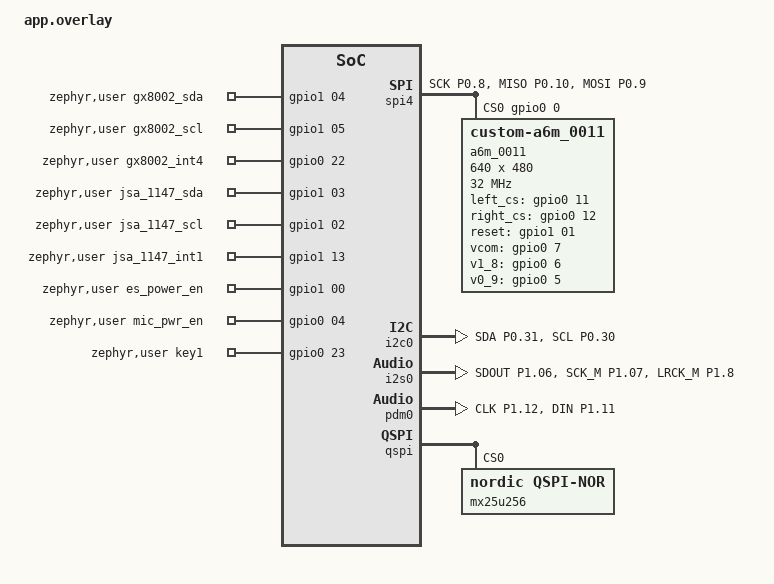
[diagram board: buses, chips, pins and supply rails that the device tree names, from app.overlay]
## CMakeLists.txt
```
# @Author       : Cole
# @Date         : 2025-07-31 10:40:40
# @LastEditTime : 2025-07-31 15:55:35
# @FilePath     : CMakeLists.txt
# @Description  : 

#  Copyright (c) MentraOS Contributors 2025 
#  SPDX-License-Identifier: Apache-2.0
 

cmake_minimum_required(VERSION 3.20.0)

list(APPEND EXTRA_ZEPHYR_MODULES
  ${CMAKE_CURRENT_SOURCE_DIR}/../custom_driver_module)

find_package(Zephyr REQUIRED HINTS $ENV{ZEPHYR_BASE})
project(mentraos_nrf5340)

# set(SHIELD npm1300_ek)
set(LVGL_DIR ${ZEPHYR_LVGL_MODULE_DIR})
FILE(GLOB app_sources src/*.c)
target_include_directories(app PRIVATE ${CMAKE_CURRENT_SOURCE_DIR}/src/.)

target_include_directories(app PRIVATE ${LVGL_DIR}/demos/)

list(APPEND CMAKE_MODULE_PATH ${ZEPHYR_BASE}/modules/nanopb)
include(nanopb)

# zephyr_library()
# zephyr_include_directories(${CMAKE_CURRENT_BINARY_DIR})
# zephyr_nanopb_sources(${ZEPHYR_CURRENT_LIBRARY} mentraos_ble.proto)
zephyr_nanopb_sources(app ${CMAKE_CURRENT_SOURCE_DIR}/mentraos_ble.proto)

# NORDIC SDK APP START
target_sources(app PRIVATE src/main.c)
add_subdirectory(src/mos_driver/bsp)
add_subdirectory(src/mos_driver/bspal)
add_subdirectory(src/mos_app)
add_subdirectory(src/mos_app/protocol_ble)
add_subdirectory(src/mos_components/mos_ble)
add_subdirectory(src/mos_components/mos_util)
add_subdirectory(src/mos_components/mos_sysport)
add_subdirectory(src/mos_components/mos_lvgl_display)
add_subdirectory(src/mos_components/mos_battery)
add_subdirectory(src/mos_components/mos_pdm)


target_sources_ifdef(CONFIG_LV_USE_DEMO_BENCHMARK app PRIVATE
    ${LVGL_DIR}/demos/benchmark/assets/img_benchmark_avatar.c
    ${LVGL_DIR}/demos/benchmark/assets/img_benchmark_lvgl_logo_argb.c
    ${LVGL_DIR}/demos/benchmark/assets/img_benchmark_lvgl_logo_rgb.c
    ${LVGL_DIR}/demos/benchmark/assets/lv_font_benchmark_montserrat_12_compr_az.c.c
    ${LVGL_DIR}/demos/benchmark/assets/lv_font_benchmark_montserrat_16_compr_az.c.c
    ${LVGL_DIR}/demos/benchmark/assets/lv_font_benchmark_montserrat_28_compr_az.c.c
    ${LVGL_DIR}/demos/benchmark/lv_demo_benchmark.c
)

target_sources_ifdef(CONFIG_LV_USE_DEMO_WIDGETS app PRIVATE
    ${LVGL_DIR}/demos/widgets/assets/img_clothes.c
    ${LVGL_DIR}/demos/widgets/assets/img_demo_widgets_avatar.c
    ${LVGL_DIR}/demos/widgets/assets/img_demo_widgets_needle.c
    ${LVGL_DIR}/demos/widgets/assets/img_lvgl_logo.c
    ${LVGL_DIR}/demos/widgets/lv_demo_widgets.c
)

zephyr_library_include_directories(.)

# NORDIC SDK APP END
```

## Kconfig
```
#
# Copyright (c) 2018 Nordic Semiconductor
#
# SPDX-License-Identifier: LicenseRef-Nordic-5-Clause
#

source "Kconfig.zephyr"

menu "Nordic UART BLE GATT service sample"

config BT_NUS_THREAD_STACK_SIZE
	int "Thread stack size"
	default 1024
	help
	  Stack size used in each of the two threads

config BT_NUS_UART_BUFFER_SIZE
	int "UART payload buffer element size"
	default 40
	help
	  Size of the payload buffer in each RX and TX FIFO element

config BT_NUS_SECURITY_ENABLED
	bool "Enable security"
	default y
	select BT_SMP
	help
	  "Enable BLE security for the UART service"

config BT_NUS_UART_RX_WAIT_TIME
	int "Timeout for UART RX complete event"
	default 50000
	help
	  Wait for RX complete event time in microseconds

config SETTINGS
	default y

config ZMS
	default y if (SOC_FLASH_NRF_RRAM || SOC_FLASH_NRF_MRAM)

config NVS
	default y if !(SOC_FLASH_NRF_RRAM || SOC_FLASH_NRF_MRAM)


config LV_Z_DEMO_BENCHMARK
	bool "LVGL benchmark demo"
	select LV_USE_DEMO_BENCHMARK
	select LV_USE_DEMO_WIDGETS
	help
	  Build benchmarking demo application.
	  
config USER_STEREO_1RX_L_1RX_R
	bool "encode fifo enable"
	default y
	
config USER_STEREO_2RX_L
	bool "encode fifo enable"
	default n
	
config USER_STEREO_2RX_LR
	bool "encode fifo enable"
	default n
endmenu
```

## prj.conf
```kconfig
# Enable the UART driver
CONFIG_UART_ASYNC_API=n
CONFIG_NRFX_UARTE0=n
CONFIG_SERIAL=n # 开启/关闭串口 Enable/disable serial port


# 设置log延时模式 Set log delay mode
CONFIG_LOG_MODE_DEFERRED=y
#设置log同步模式 Set log sync mode
CONFIG_LOG_MODE_IMMEDIATE=n
#设置log最小模式 Set log minimal mode
CONFIG_LOG_MODE_MINIMAL=n
#允许丢弃旧的消息 Allow discarding old messages
CONFIG_LOG_MODE_OVERFLOW=n
#设置log缓存大小 Set log buffer size
CONFIG_LOG_BUFFER_SIZE=1024
# # 设置log打印级别 Set log print level
# CONFIG_LOG_DEFAULT_LEVEL=4
# #设置INFO级别log颜色为绿色 Set INFO level log color to green
# CONFIG_LOG_INFO_COLOR_GREEN=y
# # #设置log打印错误为红色警告为黄色 Set log print error as red, warning as yellow
# CONFIG_LOG_BACKEND_SHOW_COLOR=y
# 开启log打印模块 Enable log print module
CONFIG_CONSOLE=y

# Config logger
CONFIG_LOG=y
# 开启rtt log打印 Enable RTT log print
CONFIG_USE_SEGGER_RTT=y 
# 开启rtt log打印缓冲 Enable RTT log print buffer
CONFIG_LOG_BACKEND_RTT=y 
CONFIG_LOG_BACKEND_UART=n
# 开启log打印模块，接管printk打印 Enable log print module, take over printk print
CONFIG_LOG_PRINTK=y         
CONFIG_ASSERT=y
 # 开启/ 关闭log rtt打印模块 Enable/disable log RTT print module
CONFIG_RTT_CONSOLE=y   
# 开启/关闭log串口打印模块 Enable/disable log serial print module
CONFIG_UART_CONSOLE=n   

CONFIG_LOG_MODE_IMMEDIATE=y 
# 配置rtt打印缓存大小 Configure RTT print buffer size
CONFIG_SEGGER_RTT_BUFFER_SIZE_UP=4096
# 浮点打印开关，占用code 1K左右 Floating point print switch, occupies about 1K code
CONFIG_CBPRINTF_FP_SUPPORT=y

# 堆内存池大小（字节） Heap memory pool size (bytes)
CONFIG_HEAP_MEM_POOL_SIZE=40960
# CONFIG_HEAP_MEM_POOL_SIZE=102400

# CONFIG_BT_GATT_DYNAMIC_DB=y
CONFIG_BT=y
CONFIG_BT_DEVICE_APPEARANCE=448
CONFIG_BT_PERIPHERAL=y
# CONFIG_BT_DEVICE_NAME="Nordic_UART_Service_test"
CONFIG_BT_DEVICE_NAME_DYNAMIC=y
CONFIG_BT_MAX_CONN=1
CONFIG_BT_MAX_PAIRED=1
#设置 Bluetooth LE 接收线程的栈空间 Set Bluetooth LE receive thread stack size
CONFIG_BT_RX_STACK_SIZE=2048
#设置 Bluetooth LE 发送线程的栈空间 Set Bluetooth LE send thread stack size
CONFIG_BT_HCI_TX_STACK_SIZE=1024
#多协议服务层（MPSL）相关线程的栈空间 Stack space for Multi-Protocol Service Layer (MPSL) related threads
CONFIG_MPSL_WORK_STACK_SIZE=1024

CONFIG_BT_L2CAP_TX_MTU=517
CONFIG_BT_BUF_ACL_TX_SIZE=521
CONFIG_BT_BUF_ACL_RX_SIZE=521
CONFIG_BT_BUF_ACL_TX_COUNT=7
# CONFIG_BT_CTLR_DATA_LENGTH_MAX=251

# Enable the NUS service
# CONFIG_BT_NUS=y
CONFIG_BT_USER_PHY_UPDATE=y
CONFIG_BT_USER_DATA_LEN_UPDATE=y

CONFIG_NRF_SECURITY=y
CONFIG_MBEDTLS_PSA_CRYPTO_C=y
CONFIG_PSA_WANT_ALG_CMAC=y
CONFIG_PSA_WANT_KEY_TYPE_AES=y
CONFIG_PSA_WANT_AES_KEY_SIZE_128=y
CONFIG_PSA_WANT_ALG_ECDSA=y
CONFIG_PSA_WANT_KEY_TYPE_ECC_KEY_PAIR_IMPORT=y
# Enable bonding
# CONFIG_BT_SETTINGS=y
CONFIG_FLASH=y
CONFIG_FLASH_PAGE_LAYOUT=y
CONFIG_FLASH_MAP=y
CONFIG_SETTINGS=n

CONFIG_SYSTEM_WORKQUEUE_STACK_SIZE=2048
# CONFIG_ISR_STACK_SIZE=4096
CONFIG_SPI=y

CONFIG_GPIO=y
# CONFIG_SOC_NRF53_CPUNET_ENABLE=y

CONFIG_MAIN_STACK_SIZE=4096
#配置main主任务优先级，空闲任务优先级为默认15，可抢占任务优先级为0~15（可配置宏：CONFIG_NUM_PREEMPT_PRIORITIES） Configure main task priority, idle task priority is default 15, preemptive task priority is 0~15 (configurable macro: CONFIG_NUM_PREEMPT_PRIORITIES)
CONFIG_MAIN_THREAD_PRIORITY=14


CONFIG_LVGL=y
# # CONFIG_LV_Z_MEM_POOL_SIZE=49152
CONFIG_LV_Z_MEM_POOL_SIZE=102400
# CONFIG_LV_Z_SHELL=y
CONFIG_LV_USE_MONKEY=y
CONFIG_LV_COLOR_DEPTH_1=y

CONFIG_INPUT=y

CONFIG_LV_FONT_MONTSERRAT_12=y
CONFIG_LV_FONT_MONTSERRAT_14=y
CONFIG_LV_FONT_MONTSERRAT_16=y
CONFIG_LV_FONT_MONTSERRAT_18=y
CONFIG_LV_FONT_MONTSERRAT_24=y
CONFIG_LV_FONT_MONTSERRAT_30=y
CONFIG_LV_FONT_MONTSERRAT_48=y

CONFIG_LV_USE_FONT_COMPRESSED=y
CONFIG_DISPLAY_LOG_LEVEL_ERR=y
CONFIG_LV_USE_LOG=y
# CONFIG_LV_Z_LOG_LEVEL=2
CONFIG_LV_Z_DEMO_BENCHMARK=y
# CONFIG_LV_Z_AUTO_INIT=n
CONFIG_LV_Z_DOUBLE_VDB=y
#修改了这里的值，注意驱动层的缓冲buff长度 ，不要超过20%; Modified this value, note that the buffer length of the driver layer should not exceed 20%
CONFIG_LV_Z_VDB_SIZE=10
CONFIG_LV_Z_VDB_CUSTOM_SECTION=n

# CONFIG_LV_USE_SYSMON=y
# CONFIG_LV_USE_PERF_MONITOR=y
# CONFIG_LV_USE_PERF_MONITOR_LOG_MODE=y



CONFIG_DISPLAY=y
CONFIG_CUSTOM_A6M_0011=y

# CONFIG_STACK_CANARIES=y
# CONFIG_STACK_USAGE=y

# Enable FOTA over Bluetooth LE
CONFIG_NCS_SAMPLE_MCUMGR_BT_OTA_DFU=y


CONFIG_MCUMGR_GRP_ZBASIC=y
CONFIG_MCUMGR_GRP_ZBASIC_STORAGE_ERASE=y
# CONFIG_PM_OVERRIDE_EXTERNAL_DRIVER_CHECK=y


# CONFIG_CJSON_LIB=y
CONFIG_NEWLIB_LIBC=y
CONFIG_NEWLIB_LIBC_FLOAT_PRINTF=y
CONFIG_NEWLIB_LIBC_NANO=n



CONFIG_RING_BUFFER=y

CONFIG_FILE_SYSTEM=y
CONFIG_FILE_SYSTEM_LITTLEFS=y
# CONFIG_FS_LOG_LEVEL=3
#LittleFS 的缓存大小（字节）; LittleFS cache size (bytes)
CONFIG_FS_LITTLEFS_CACHE_SIZE=1024
#LittleFS 块的擦写周期上限，用于磨损均衡; LittleFS block erase/write cycle limit for wear leveling
CONFIG_FS_LITTLEFS_BLOCK_CYCLES=512
#LittleFS 读操作的最小单位（字节）; LittleFS minimum read operation unit (bytes)
CONFIG_FS_LITTLEFS_READ_SIZE=32
#LittleFS 写操作的最小单位（字节）; LittleFS minimum write operation unit (bytes)
CONFIG_FS_LITTLEFS_PROG_SIZE=32
#LittleFS 查找窗口的大小（字节），用于查找文件时，在文件系统上查找的窗口大小; LittleFS lookup window size (bytes), used when searching for files in the file system
CONFIG_FS_LITTLEFS_LOOKAHEAD_SIZE=64


# 在系统配置中包括当前/电压调节器的驱动程序; Include current/voltage regulator drivers in system configuration
CONFIG_REGULATOR=y
CONFIG_SENSOR=y
CONFIG_I2C=y
CONFIG_LED=y
CONFIG_NRF_FUEL_GAUGE=y
CONFIG_NRF_FUEL_GAUGE_VARIANT_SECONDARY_CELL=y
CONFIG_TFM_SECURE_UART=n
CONFIG_TFM_LOG_LEVEL_SILENCE=y

CONFIG_PM_DEVICE=y
CONFIG_NRFX_TWIM0=y
## thread monitor ##
CONFIG_THREAD_ANALYZER=y
CONFIG_THREAD_NAME=y




######test load##############
# CONFIG_ZTEST=y
CONFIG_CPU_LOAD=y
CONFIG_NRFX_TIMER1=y
CONFIG_CPU_LOAD_USE_SHARED_DPPI_CHANNELS=y


#watchdog
CONFIG_WDT_LOG_LEVEL_DBG=n
CONFIG_WATCHDOG=y
CONFIG_WDT_DISABLE_AT_BOOT=n

CONFIG_CMSIS_DSP=y
CONFIG_SW_CODEC_LC3_T2_SOFTWARE=y
CONFIG_LC3_ENC_CHAN_MAX=2
CONFIG_LC3_DEC_CHAN_MAX=2

CONFIG_FPU=y
# CONFIG_NRFX_PDM0=y
CONFIG_AUDIO=y
CONFIG_AUDIO_DMIC=y
CONFIG_AUDIO_DMIC_NRFX_PDM=y

CONFIG_NRFX_I2S0=y
CONFIG_USER_STEREO_1RX_L_1RX_R=y
# CONFIG_USER_STEREO_2RX_L is not set
# CONFIG_USER_STEREO_2RX_LR is not set


CONFIG_NANOPB=y
```

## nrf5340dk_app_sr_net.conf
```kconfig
#
# Copyright (c) 2022 Nordic Semiconductor
#
# SPDX-License-Identifier: LicenseRef-Nordic-5-Clause
#

CONFIG_BOOTLOADER_MCUBOOT=y
CONFIG_NRF53_UPGRADE_NETWORK_CORE=y
```

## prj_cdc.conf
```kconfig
#
# Copyright (c) 2021 Nordic Semiconductor
#
# SPDX-License-Identifier: LicenseRef-Nordic-5-Clause
#

# Enable the UART driver
CONFIG_UART_LINE_CTRL=y
CONFIG_UART_INTERRUPT_DRIVEN=y
CONFIG_UART_ASYNC_ADAPTER=y
CONFIG_USB_DEVICE_STACK=y
CONFIG_USB_DEVICE_REMOTE_WAKEUP=n
CONFIG_USB_CDC_ACM=y
CONFIG_USB_CDC_ACM_LOG_LEVEL_OFF=y

# Disable the UARTE0 enabled in default project configuration
CONFIG_NRFX_UARTE0=n
CONFIG_UART_NRFX=n
```

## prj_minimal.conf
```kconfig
#
# Copyright (c) 2021 Nordic Semiconductor
#
# SPDX-License-Identifier: LicenseRef-Nordic-5-Clause
#

# Enable the UART driver
CONFIG_UART_ASYNC_API=y
CONFIG_NRFX_UARTE0=y
CONFIG_SERIAL=y

CONFIG_HEAP_MEM_POOL_SIZE=1536

CONFIG_BT=y
CONFIG_BT_PERIPHERAL=y
CONFIG_BT_DEVICE_NAME="Nordic_UART_Service"
CONFIG_BT_DEVICE_APPEARANCE=833
CONFIG_BT_MAX_CONN=1
CONFIG_BT_MAX_PAIRED=1

# Enable the NUS service
CONFIG_BT_NUS=y

# Enable bonding
CONFIG_BT_SETTINGS=y
CONFIG_FLASH=y
CONFIG_FLASH_PAGE_LAYOUT=y
CONFIG_FLASH_MAP=y

# Enable DK LED and Buttons library
CONFIG_DK_LIBRARY=y

# Drivers and peripherals
CONFIG_I2C=n
CONFIG_WATCHDOG=n
CONFIG_SPI=n
CONFIG_GPIO=n

# Power management

# Interrupts
CONFIG_DYNAMIC_INTERRUPTS=n
CONFIG_IRQ_OFFLOAD=n

# Memory protection
CONFIG_THREAD_STACK_INFO=n
CONFIG_THREAD_CUSTOM_DATA=n
CONFIG_FPU=n

# Boot
CONFIG_NCS_BOOT_BANNER=n
CONFIG_BOOT_BANNER=n
CONFIG_BOOT_DELAY=0

# Console
CONFIG_CONSOLE=n
CONFIG_UART_CONSOLE=n
CONFIG_STDOUT_CONSOLE=n
CONFIG_PRINTK=n
CONFIG_EARLY_CONSOLE=n

# Build
CONFIG_SIZE_OPTIMIZATIONS=y

# ARM
CONFIG_ARM_MPU=n

# In order to correctly tune the stack sizes for the threads the following
# Configurations can enabled to print the current use:
#CONFIG_THREAD_NAME=y
#CONFIG_THREAD_ANALYZER=y
#CONFIG_THREAD_ANALYZER_AUTO=y
#CONFIG_THREAD_ANALYZER_RUN_UNLOCKED=y
#CONFIG_THREAD_ANALYZER_USE_PRINTK=y
#CONFIG_CONSOLE=y
#CONFIG_UART_CONSOLE=y
#CONFIG_SERIAL=y
#CONFIG_PRINTK=y

# Example output of thread analyzer
#SDC RX              : unused 800 usage 224 / 1024 (21 %)
#BT ECC              : unused 216 usage 888 / 1104 (80 %)
#BT RX               : unused 1736 usage 464 / 2200 (21 %)
#BT TX               : unused 1008 usage 528 / 1536 (34 %)
#ble_write_thread_id : unused 688 usage 336 / 1024 (32 %)
#sysworkq            : unused 1912 usage 136 / 2048 (6 %)
#MPSL signal         : unused 928 usage 96 / 1024 (9 %)
#idle 00             : unused 224 usage 96 / 320 (30 %)
#main                : unused 568 usage 456 / 1024 (44 %)
CONFIG_BT_RX_STACK_SIZE=1024
CONFIG_BT_HCI_TX_STACK_SIZE_WITH_PROMPT=y
CONFIG_BT_HCI_TX_STACK_SIZE=640
CONFIG_SYSTEM_WORKQUEUE_STACK_SIZE=1536
CONFIG_MPSL_WORK_STACK_SIZE=256
CONFIG_IDLE_STACK_SIZE=128
CONFIG_ISR_STACK_SIZE=1024
CONFIG_BT_NUS_THREAD_STACK_SIZE=512

# Disable features not needed
CONFIG_TIMESLICING=n
CONFIG_COMMON_LIBC_MALLOC=n
CONFIG_LOG=n
CONFIG_LOG_BACKEND_RTT=n
CONFIG_ASSERT=n

# Disable Bluetooth features not needed
CONFIG_BT_DEBUG_NONE=y
CONFIG_BT_ASSERT=n
CONFIG_BT_DATA_LEN_UPDATE=n
CONFIG_BT_PHY_UPDATE=n
CONFIG_BT_GATT_CACHING=n
CONFIG_BT_GATT_SERVICE_CHANGED=n
CONFIG_BT_GAP_PERIPHERAL_PREF_PARAMS=n
CONFIG_BT_SETTINGS_CCC_LAZY_LOADING=y
CONFIG_BT_HCI_VS=n

# Disable Bluetooth controller features not needed
CONFIG_BT_CTLR_PRIVACY=n
CONFIG_BT_CTLR_PHY_2M=n

# Reduce Bluetooth buffers
CONFIG_BT_BUF_EVT_DISCARDABLE_COUNT=1
CONFIG_BT_BUF_EVT_DISCARDABLE_SIZE=43
CONFIG_BT_BUF_EVT_RX_COUNT=2

CONFIG_BT_CONN_TX_MAX=3
CONFIG_BT_L2CAP_TX_BUF_COUNT=2
CONFIG_BT_ATT_TX_COUNT=2
CONFIG_BT_BUF_ACL_TX_COUNT=3
CONFIG_BT_BUF_ACL_TX_SIZE=27
```

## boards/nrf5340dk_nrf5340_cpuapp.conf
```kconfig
#
# Copyright (c) 2025 Nordic Semiconductor
#
# SPDX-License-Identifier: LicenseRef-Nordic-5-Clause
#

# Don't get entropy from HCI on nRF5340 devices
CONFIG_BT_HOST_CRYPTO_PRNG=y
CONFIG_ENTROPY_BT_HCI=n
```

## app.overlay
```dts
//   @Author: 		Cole
//   @Date: 		2025-07-31 10: 40: 40
//   @LastEditTime: 2025-08-20 10: 17: 53
//   @FilePath: 	app.overlay
//   @FilePath: 	app.overlay
//   @Description:
//   Copyright (c) MentraOS Contributors 2025
//   SPDX-License-Identifier: Apache-2.0

/ {
	chosen {
		zephyr,display = &a6m_0011;
		nordic,pm-ext-flash = &mx25u256;
		// nordic,pm-ext-flash = &mx25r64;
	};
	zephyr,user {
		gx8002_sda-gpios = <&gpio1 04 GPIO_ACTIVE_HIGH>;
		gx8002_scl-gpios = <&gpio1 05 GPIO_ACTIVE_HIGH>;
		gx8002_int4-gpios = <&gpio0 22 GPIO_ACTIVE_HIGH>;

		jsa_1147_sda-gpios = <&gpio1 03 GPIO_ACTIVE_HIGH>;
		jsa_1147_scl-gpios = <&gpio1 02 GPIO_ACTIVE_HIGH>;
		jsa_1147_int1-gpios = <&gpio1 13 GPIO_ACTIVE_HIGH>;

		es_power_en-gpios = <&gpio1 00 GPIO_ACTIVE_HIGH>;
		mic_pwr_en-gpios = <&gpio0 04 GPIO_ACTIVE_HIGH>;

		key1-gpios = <&gpio0 23 GPIO_ACTIVE_HIGH>;
	};
	/delete-node/ aliases;
	aliases {
		myimu6 = &i2c0;
		myimu3 = &i2c2;
		// myvda = &i2c3;

		watchdog0 = &wdt0;
	};

};


&pinctrl {
	spi4_default: spi4_default {
		group1 {
			psels = <NRF_PSEL(SPIM_SCK, 0, 8)>,
			        <NRF_PSEL(SPIM_MISO, 0, 10)>,
			        <NRF_PSEL(SPIM_MOSI, 0, 9)>;
			nordic,drive-mode = <NRF_DRIVE_E0E1>;
		};
	};
	spi4_sleep: spi4_sleep {
		group1 {
			psels = <NRF_PSEL(SPIM_SCK, 0, 8)>,
			        <NRF_PSEL(SPIM_MISO, 0, 10)>,
			        <NRF_PSEL(SPIM_MOSI, 0, 9)>;
			low-power-enable;
		};
	};
	i2c0_default: i2c0_default {
		group1 {
			psels = <NRF_PSEL(TWIM_SDA, 0, 31)>,
					<NRF_PSEL(TWIM_SCL, 0, 30)>;
			bias-pull-up;
			nordic,drive-mode = <NRF_DRIVE_S0D1>;
		};
	};
	i2c0_sleep: i2c0_sleep {
		group1 {
			psels = <NRF_PSEL(TWIM_SDA, 0, 31)>,
					<NRF_PSEL(TWIM_SCL, 0, 30)>;
			low-power-enable;
		};
	};
	i2c2_default: i2c2_default {
		group1 {
			psels = <NRF_PSEL(TWIM_SDA, 1, 15)>,
					<NRF_PSEL(TWIM_SCL, 1, 14)>;
			bias-pull-up;
			nordic,drive-mode = <NRF_DRIVE_S0D1>;
		};
	};
	i2c2_sleep: i2c2_sleep {
		group1 {
			psels = <NRF_PSEL(TWIM_SDA, 1, 15)>,
					<NRF_PSEL(TWIM_SCL, 1, 14)>;
			low-power-enable;
		};
	};
	i2c3_default: i2c3_default {
		group1 {

			psels = <NRF_PSEL(TWIM_SDA, 1, 04)>,
					<NRF_PSEL(TWIM_SCL, 1, 05)>;
			bias-pull-up;
			nordic,drive-mode = <NRF_DRIVE_S0D1>;
		};
	};
	i2c3_sleep: i2c3_sleep {
		group1 {
			psels = <NRF_PSEL(TWIM_SDA, 1, 04)>,
					<NRF_PSEL(TWIM_SCL, 1, 05)>;
			low-power-enable;
		};
	};
	i2s0_default: i2s0_default {
		group1 {
			psels = <NRF_PSEL(I2S_SDOUT, 1, 06)>,
			        <NRF_PSEL(I2S_SCK_M, 1, 07)>,
			        <NRF_PSEL(I2S_LRCK_M, 1, 8)>;
			// <NRF_PSEL(I2S_SDIN, 0, 0)>;

		};
	};
	pdm0_default_alt: pdm0_default_alt {
		group1 {
			psels = <NRF_PSEL(PDM_CLK, 1, 12)>,
					<NRF_PSEL(PDM_DIN, 1, 11)>;

		};
	};
};
&spi4 {
	compatible = "nordic,nrf-spim";
	status = "okay";
	cs-gpios = <&gpio0 0 GPIO_ACTIVE_HIGH>;
	pinctrl-0 = <&spi4_default>;
	pinctrl-1 = <&spi4_sleep>;
	pinctrl-names = "default", "sleep";
	a6m_0011: a6m_0011@0 {
		compatible = "zephyr,custom-a6m_0011";
		status = "okay";
		reg = <0>;
		spi-max-frequency = <32000000>;
		left_cs-gpios = <&gpio0 11 GPIO_ACTIVE_HIGH>;
		right_cs-gpios = <&gpio0 12 GPIO_ACTIVE_HIGH>;
		reset-gpios = <&gpio1 01 GPIO_ACTIVE_HIGH>;
		vcom-gpios = <&gpio0 7 GPIO_ACTIVE_HIGH>;
		v1_8-gpios = <&gpio0 6 GPIO_ACTIVE_HIGH>;
		v0_9-gpios = <&gpio0 5 GPIO_ACTIVE_HIGH>;

		width = <640>;
		// height = <240>;
		height = <480>;
	};
};
&i2c0 {
	status = "okay";
	compatible = "nordic,nrf-twim";
	pinctrl-0 = <&i2c0_default>;
	pinctrl-1 = <&i2c0_sleep>;
	pinctrl-names = "default", "sleep";
};
&i2c2 {
	status = "disabled";
	compatible = "nordic,nrf-twim";
	pinctrl-0 = <&i2c2_default>;
	pinctrl-1 = <&i2c2_sleep>;
	pinctrl-names = "default", "sleep";
};
&i2c3 {
	status = "disabled";
	compatible = "nordic,nrf-twim";
	pinctrl-0 = <&i2c3_default>;
	pinctrl-1 = <&i2c3_sleep>;
	pinctrl-names = "default", "sleep";
};
&i2s0 {
	compatible = "nordic,nrf-i2s";
	status = "okay";
	pinctrl-0 = <&i2s0_default>;
	pinctrl-names = "default";
	// clock-source = "ACLK";
};

dmic_dev: &pdm0 {
	status = "okay";
	compatible = "nordic,nrf-pdm";
	pinctrl-0 = <&pdm0_default_alt>;
	pinctrl-names = "default";
	// clock-source = "ACLK";
};
&gpio1 {
	sense-edge-mask = <0xffffffff>;
};
&gpio0 {
	sense-edge-mask = <0xffffffff>;
};
&nfct {
	status = "disabled";
};
&gpio_fwd {
	// status = "disabled";// 将管脚控制权保留在应用核; Keep the control of the pins within the application core
	/delete-node/ uart;// 将管脚控制权保留在应用核; Keep the control of the pins within the application core

};

&pwm0 {
	status = "disabled";
};
&ieee802154 {
	status = "disabled";
};
&uart0 {
	status = "disabled";
};

/delete-node/ &button0;
/delete-node/ &button1;
/delete-node/ &button2;
/delete-node/ &button3;
// /delete-node/ &buttons;
/delete-node/ &led0;
/delete-node/ &led1;
/delete-node/ &led2;
/delete-node/ &led3;
// /delete-node/ &leds;

// &qspi {
// 	status = "okay";
// 	pinctrl-0 = <&qspi_default>;
// 	pinctrl-1 = <&qspi_sleep>;
// 	pinctrl-names = "default", "sleep";
// 	mx25r64: mx25r6435f@0 {
// 			compatible = "nordic,qspi-nor";
// 			reg = <0>;
// 			/* MX25R64 supports only pp and pp4io */
// 			writeoc = "pp4io";
// 			/* MX25R64 supports all readoc options */
// 			readoc = "read4io";
// 			sck-frequency = <32000000>;
// 			jedec-id = [ c2 28 17  ];
// 			sfdp-bfp = [ e5 20 f1 ff ff ff ff 03 44 eb 08 6b 08 3b 04 bb ee ff ff ff ff ff 00 ff ff ff 00 ff 0c 20 0f 52 10 d8 00 ff 23 72 f5 00 82 ed 04 cc 44 83 68 44 30 b0 30 b0 f7 c4 d5 5c 00 be 29 ff f0 d0 ff ff  ];
// 			size = <67108864>;
// 			has-dpd;
// 			t-enter-dpd = <10000>;
// 			t-exit-dpd = <35000>;
// 	};
// };

/delete-node/ &mx25r64;
&qspi {
	status = "okay";
	pinctrl-0 = <&qspi_default>;
	pinctrl-1 = <&qspi_sleep>;
	pinctrl-names = "default", "sleep";
	mx25u256: mx25u256@0 {
		compatible = "nordic,qspi-nor";
		reg = <0>;
		/* MX25U256 supports only pp and pp4io */
		writeoc = "pp4io";
		/* MX25U256 supports all readoc options */
		readoc = "read4io";
		sck-frequency = <32000000>;
		address-size-32;
		enter-4byte-addr = <0xb7>;
		jedec-id = [ c2 25 39  ];
		sfdp-bfp = [ e5 20 fb ff ff ff ff 0f 44 eb 08 6b 08 3b 04 bb fe ff ff ff ff ff 00 ff ff ff 44 eb 0c 20 0f 52 10 d8 00 ff 25 52 dd 00 84 a5 04 e2 44 03 17 38 30 b0 30 b0 f7 bd d5 5c 4a 9e 29 ff f0 50 f9 85  ];
		size = <0x2000000>;// 32M
		has-dpd;
		t-enter-dpd = <10000>;
		t-exit-dpd = <35000>;
	};
};
```

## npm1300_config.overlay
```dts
/*
 * Copyright (C) 2023 Nordic Semiconductor ASA
 * SPDX-License-Identifier: Apache-2.0
 */

#include <dt-bindings/regulator/npm1300.h>
#include <zephyr/dt-bindings/input/input-event-codes.h>

&pinctrl {
    arduino_i2c_default: arduino_i2c_default {
        group1 {
            psels = <NRF_PSEL(TWIM_SCL, 0, 29)>,
                    <NRF_PSEL(TWIM_SDA, 1, 10)>;
            bias-pull-up;
        };
    };
    arduino_i2c_sleep: arduino_i2c_sleep {
        group1 {
            psels = <NRF_PSEL(TWIM_SCL, 0, 29)>,
                    <NRF_PSEL(TWIM_SDA, 1, 10)>;
            low-power-enable;
        };
    };
};

&arduino_i2c {
    status = "okay";
    pinctrl-0 = <&arduino_i2c_default>;
    pinctrl-1 = <&arduino_i2c_sleep>;
    pinctrl-names = "default", "sleep";
    clock-frequency = <I2C_BITRATE_STANDARD>;

    npm1300_ek_pmic: pmic@6b {
        compatible = "nordic,npm1300";
        reg = <0x6b>;
        // ship-to-active-time = <96>;
        // long-press-reset = "one_button";
        npm1300_ek_gpio: gpio-controller {
            compatible = "nordic,npm1300-gpio";
            gpio-controller;
            #gpio-cells = <2>;
            ngpios = <5>;
            // phandle = <6>;
        };
        npm1300_ek_regulators: regulators {
            compatible = "nordic,npm1300-regulator";

            npm1300_ek_buck1: BUCK1 {
                regulator-min-microvolt = <1000000>;
                regulator-max-microvolt = <3300000>;
                retention-microvolt = <1200000>;
            };
            npm1300_ek_buck2: BUCK2 {
                regulator-min-microvolt = <1000000>;
                regulator-max-microvolt = <3300000>;
                retention-microvolt = <1800000>;
            };

            npm1300_ek_ldo1: LDO1 {
                regulator-min-microvolt = <1000000>;
                regulator-max-microvolt = <3300000>;
                regulator-initial-mode = <NPM1300_LDSW_MODE_LDSW>;
                regulator-boot-on;
            };
            npm1300_ek_ldo2: LDO2 {
                regulator-min-microvolt = <1000000>;
                regulator-max-microvolt = <3300000>;
                regulator-initial-mode = <NPM1300_LDSW_MODE_LDSW>;
                regulator-boot-on;
            };

        };

        npm1300_ek_charger: charger {
            compatible = "nordic,npm1300-charger";
            term-microvolt = <4250000>;// 充电终止电压; Charging termination voltage
            term-warm-microvolt = <3600000>;
            // term-current-percent = <10>;
            // current-microamp = <800000>;// 限制充电电流(uA); Limit charging current (uA)
            current-microamp = <300000>;// 限制充电电流(uA); Limit charging current (uA)
            // current-microamp = <150000>;// 限制充电电流(uA); Limit charging current (uA)
            // trickle-microvolt = <2900000>;
            dischg-limit-microamp = <200000>; // 限制放电电流(uA); Limit discharge current (uA)
            // dischg-limit-microamp = <1000000>; // 限制放电电流(uA); Limit discharge current (uA)
            vbus-limit-microamp = <500000>;
            thermistor-ohms = <10000>;
            thermistor-beta = <3380>;

            charging-enable;
            vbatlow-charge-enable;
        };


        npm1300_ek_leds: leds {
            compatible = "nordic,npm1300-led";
            nordic,led0-mode = "error";
            nordic,led1-mode = "charging";
            nordic,led2-mode = "host";
        };

    };
};
```

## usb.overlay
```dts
/*
 * Copyright (c) 2021 Nordic Semiconductor ASA
 *
 * SPDX-License-Identifier: LicenseRef-Nordic-5-Clause
 */

/ {
	chosen {
		zephyr,console = &cdc_acm_uart0;
		nordic,nus-uart = &cdc_acm_uart0;
	};
};

&zephyr_udc0 {
	cdc_acm_uart0: cdc_acm_uart0 {
		compatible = "zephyr,cdc-acm-uart";
	};
};
```

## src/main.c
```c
/*
 * @Author       : Cole
 * @Date         : 2025-07-31 10:40:40
 * @LastEditTime : 2025-08-19 17:49:37
 * @FilePath     : main.c
 * @Description  :
 *
 *  Copyright (c) MentraOS Contributors 2025
 *  SPDX-License-Identifier: Apache-2.0
 */

#include <soc.h>
#include <uart_async_adapter.h>
#include <zephyr/bluetooth/bluetooth.h>
#include <zephyr/bluetooth/gap.h>
#include <zephyr/bluetooth/gatt.h>
#include <zephyr/bluetooth/hci.h>
#include <zephyr/bluetooth/uuid.h>
#include <zephyr/device.h>
#include <zephyr/devicetree.h>
#include <zephyr/drivers/uart.h>
#include <zephyr/kernel.h>
#include <zephyr/types.h>
#include <zephyr/usb/usb_device.h>

// #include <bluetooth/services/nus.h>
#include <stdio.h>
#include <string.h>
#include <zephyr/logging/log.h>
#include <zephyr/settings/settings.h>
/******************************************* */
#include "bsp_board_mcu.h"
#include "bspal_watchdog.h"
#include "main.h"
#include "mos_ble_service.h"
#include "mos_config.h"
#include "mos_lvgl_display.h"
#include "nrfx_clock.h"
#include "protocol_ble_process.h"
#include "protocol_ble_send.h"
#include "task_ble_receive.h"
#include "task_interrupt.h"
#include "task_lc3_codec.h"
#include "task_process.h"

static struct bt_conn *my_current_conn;

static uint16_t payload_mtu   = 20;     // 默认MTU长度; Default MTU length
static bool     ble_connected = false;  // 默认未连接; Default not connected
#define BLE_NAME_MAX_LEN 20
static uint8_t device_name[BLE_NAME_MAX_LEN] = "1234567890";

#define BT_GAP_PER_ADV_MS_TO_INTERVAL(ms) ((ms) * 1000 / 625)

static struct bt_le_adv_param g_adv_param;

#define BLE_AD_IDX_FLAGS   0
#define BLE_AD_IDX_NAME    1
#define BLE_AD_IDX_XY_TEST 2
static uint8_t mos_test_ad_data[11] = {0x4B, 0X39, 0X30, 0X30, 0X30, 0X30, 0X30, 0X30, 0X30, 0X30, 0X30};
static uint8_t mos_test_sd_data[11] = {0x22, 0XB8, 0X00, 0X08, 0XFF, 0X01, 0X30, 0X30, 0X30, 0X30, 0X30};
/******************************************* */

#define LOG_MODULE_NAME main
LOG_MODULE_REGISTER(LOG_MODULE_NAME);

static K_SEM_DEFINE(ble_init_ok, 0, 1);

static struct bt_conn *auth_conn;
static struct k_work   adv_work;

static struct bt_data ad[] = {
    [BLE_AD_IDX_FLAGS] = BT_DATA_BYTES(BT_DATA_FLAGS, (BT_LE_AD_GENERAL | BT_LE_AD_NO_BREDR)),
    [BLE_AD_IDX_NAME]  = BT_DATA(BT_DATA_NAME_COMPLETE, device_name, (sizeof(device_name) - 1)),
    // [BLE_AD_IDX_XY_TEST] = BT_DATA(BT_DATA_GAP_APPEARANCE, mos_test_ad_data, (sizeof(mos_test_ad_data) - 1)), // test
};

static const struct bt_data sd[] = {
    // BT_DATA_BYTES(BT_DATA_UUID128_ALL, BT_UUID_MY_SERVICE_VAL),
    BT_DATA(BT_DATA_MANUFACTURER_DATA, mos_test_sd_data, (sizeof(mos_test_sd_data) - 1)),  // test
};

#ifdef CONFIG_UART_ASYNC_ADAPTER
UART_ASYNC_ADAPTER_INST_DEFINE(async_adapter);
#else
#define async_adapter NULL
#endif
void ble_init_sem_give(void)
{
    k_sem_give(&ble_init_ok);  // 通知蓝牙初始化完成; Notify that Bluetooth initialization is complete
}
/**
 * @description: 等待蓝牙初始化完成; Wait for Bluetooth initialization to complete
 * @return int 0:成功，其他:失败; 0: success, other: failure
 */
int ble_init_sem_take(void)
{
    return k_sem_take(&ble_init_ok, K_FOREVER);
}
void adv_set_ble_name(const uint8_t *data, uint8_t data_len)
{
    if (data_len < sizeof(device_name))
    {
        memset(device_name, 0, sizeof(device_name));
        memcpy(device_name, data, data_len);

        ad[BLE_AD_IDX_NAME].data     = device_name;
        ad[BLE_AD_IDX_NAME].data_len = data_len;
        LOG_INF("Set BLE name to[%d]: %s", data_len, device_name);
    }
    else
    {
        LOG_ERR("Name too long to set in adv");
    }
}
void ble_name_update_data(const char *name)
{
    if (name == NULL || strlen(name) > BLE_NAME_MAX_LEN)
    {
        LOG_ERR("Invalid name provided ERR");
        return;
    }
    char ble_name[BLE_NAME_MAX_LEN + 1];
    memset(ble_name, 0, sizeof(ble_name));
    strncpy(ble_name, name, strlen(name));

    LOG_INF("Updating BLE name to: %s", ble_name);
    int err = bt_set_name(ble_name);
    if (err != 0)
    {
        LOG_ERR("Failed to set name (err %d)", err);
        return;
    }
    adv_set_ble_name((const uint8_t *)ble_name, strlen(ble_name));

    err = bt_le_adv_update_data(ad, ARRAY_SIZE(ad), sd, ARRAY_SIZE(sd));
    if (err != 0)
    {
        LOG_ERR("Failed to update adv data (err %d)", err);
    }
}
void get_ble_mac_addr(uint8_t *mac_addr, uint8_t mac_addr_len)
{
    if ((mac_addr == NULL) || (mac_addr_len < BT_ADDR_LE_STR_LEN))
    {
        LOG_ERR("Invalid mac_addr provided err");
        return;
    }
    bt_addr_le_t addr;
    size_t       count = 1;
    bt_id_get(&addr, &count);

    char addr_str[BT_ADDR_LE_STR_LEN];
    bt_addr_le_to_str(&addr, addr_str, sizeof(addr_str));
    // snprintf((char *)mac_addr, 17, "%s", addr_str); // CF:53:47:E4:94:88
    memcpy((uint8_t *)mac_addr, addr_str, 17);
    LOG_INF("Bluetooth address:%s", addr_str);
}
static void adv_work_handler(struct k_work *work)
{
    int err;
    int retry;
    for (retry = 0; retry < 5; retry++)  // 累计尝试5次; Accumulate 5 attempts
    {
        err = bt_le_adv_start(&g_adv_param, ad, ARRAY_SIZE(ad), sd, ARRAY_SIZE(sd));
        if (err == 0)
        {
            LOG_INF("Advertising successfully started (try %d)", retry + 1);
            return;
        }
        LOG_ERR("Advertising failed to start (err %d), try %d", err, retry + 1);
        // 如果不是第一次，尝试 stop 再 start; If it's not the first time, try to stop and start again
        if (retry > 0)
        {
            int stop_err = bt_le_adv_stop();
            if (stop_err != 0)
            {
                LOG_ERR("Advertising failed to stop (err %d)", stop_err);
            }
        }
        mos_delay_ms(20);  // 短暂等待后再重试 ; Short wait before retrying
    }
    LOG_ERR("Advertising failed to start after %d retries", retry);
}

void advertising_start(void)
{
    k_work_submit(&adv_work);  // 提交工作到工作队列;  Submit a work item to the system queue.
}

static void recycled_cb(void)
{
    LOG_INF("Connection object available from previous conn. Disconnect is complete!");
    advertising_start();
}

#ifdef CONFIG_BT_NUS_SECURITY_ENABLED
static void security_changed(struct bt_conn *conn, bt_security_t level, enum bt_security_err err)
{
    char addr[BT_ADDR_LE_STR_LEN];
    bt_addr_le_to_str(bt_conn_get_dst(conn), addr, sizeof(addr));

    if (!err)
    {
        LOG_INF("Security changed: %s level %u", addr, level);
    }
    else
    {
        LOG_WRN("Security failed: %s level %u err %d %s", addr, level, err, bt_security_err_to_str(err));
    }
}
#endif

#if defined(CONFIG_BT_NUS_SECURITY_ENABLED)
static void auth_passkey_display(struct bt_conn *conn, unsigned int passkey)
{
    char addr[BT_ADDR_LE_STR_LEN];

    bt_addr_le_to_str(bt_conn_get_dst(conn), addr, sizeof(addr));

    LOG_INF("Passkey for %s: %06u", addr, passkey);
}

static void auth_passkey_confirm(struct bt_conn *conn, unsigned int passkey)
{
    char addr[BT_ADDR_LE_STR_LEN];

    auth_conn = bt_conn_ref(conn);

    bt_addr_le_to_str(bt_conn_get_dst(conn), addr, sizeof(addr));

    LOG_INF("Passkey for %s: %06u", addr, passkey);

    if (IS_ENABLED(CONFIG_SOC_SERIES_NRF54HX) || IS_ENABLED(CONFIG_SOC_SERIES_NRF54LX))
    {
        LOG_INF("Press Button 0 to confirm, Button 1 to reject.");
    }
    else
    {
        LOG_INF("Press Button 1 to confirm, Button 2 to reject.");
    }
}

static void auth_cancel(struct bt_conn *conn)
{
    char addr[BT_ADDR_LE_STR_LEN];

    bt_addr_le_to_str(bt_conn_get_dst(conn), addr, sizeof(addr));

    LOG_INF("Pairing cancelled: %s", addr);
}

static void pairing_complete(struct bt_conn *conn, bool bonded)
{
    char addr[BT_ADDR_LE_STR_LEN];

    bt_addr_le_to_str(bt_conn_get_dst(conn), addr, sizeof(addr));

    LOG_INF("Pairing completed: %s, bonded: %d", addr, bonded);
}

static void pairing_failed(struct bt_conn *conn, enum bt_security_err reason)
{
    char addr[BT_ADDR_LE_STR_LEN];

    bt_addr_le_to_str(bt_conn_get_dst(conn), addr, sizeof(addr));

    LOG_INF("Pairing failed conn: %s, reason %d %s", addr, reason, bt_security_err_to_str(reason));
}

static struct bt_conn_auth_cb conn_auth_callbacks = {
    .passkey_display = auth_passkey_display,
    .passkey_confirm = auth_passkey_confirm,
    .cancel          = auth_cancel,
};

static struct bt_conn_auth_info_cb conn_auth_info_callbacks = {.pairing_complete = pairing_complete,
                                                               .pairing_failed   = pairing_failed};
#else
static struct bt_conn_auth_cb      conn_auth_callbacks;
static struct bt_conn_auth_info_cb conn_auth_info_callbacks;
#endif
static void bt_receive_cb(struct bt_conn *conn, const uint8_t *const data, uint16_t len)
{
    // char addr[BT_ADDR_LE_STR_LEN] = {0};
    // bt_addr_le_to_str(bt_conn_get_dst(conn), addr, ARRAY_SIZE(addr));
    // LOG_INF("Received data from: %s", addr);
    ble_receive_fragment(data, len);
}

static void update_data_length(struct bt_conn *conn)
{
    int                              err;
    struct bt_conn_le_data_len_param my_data_len = {
        .tx_max_len  = BT_GAP_DATA_LEN_MAX,
        .tx_max_time = BT_GAP_DATA_TIME_MAX,
    };
    err = bt_conn_le_data_len_update(my_current_conn, &my_data_len);
    if (err)
    {
        LOG_ERR("data_len_update failed (err %d)", err);
    }
}

static void update_phy(struct bt_conn *conn)
{
    int                               err;
    const struct bt_conn_le_phy_param preferred_phy = {
        .options     = BT_CONN_LE_PHY_OPT_NONE,
        .pref_rx_phy = BT_GAP_LE_PHY_2M,
        .pref_tx_phy = BT_GAP_LE_PHY_2M,
    };
    err = bt_conn_le_phy_update(conn, &preferred_phy);
    if (err)
    {
        LOG_ERR("bt_conn_le_phy_update() returned %d", err);
    }
}
void set_ble_connected_status(bool connected)
{
    ble_connected = connected;
}
/**
 * @retval 获取当前 BLE 连接状态 get the current BLE connection status
 * @return false 未连接，true 已连接 returns false if not connected, true if connected
 */
bool get_ble_connected_status(void)
{
    return ble_connected;
}
static void my_connected(struct bt_conn *conn, uint8_t err)
{
    char addr[BT_ADDR_LE_STR_LEN];
    if (err)
    {
        LOG_ERR("Connection failed, err 0x%02x %s", err, bt_hci_err_to_str(err));
        return;
    }
    bt_addr_le_to_str(bt_conn_get_dst(conn), addr, sizeof(addr));
    LOG_INF("Connected: %s", addr);
    my_current_conn = bt_conn_ref(conn);
    set_ble_connected_status(true);
    /* Update the connection parameters */
    struct bt_conn_info info;
    err = bt_conn_get_info(conn, &info);
    if (err)
    {
        LOG_ERR("bt_conn_get_info() returned %d", err);
        return;
    }
    double   connection_interval = info.le.interval * 1.25;  // in ms
    uint16_t supervision_timeout = info.le.timeout * 10;     // in ms
    LOG_INF("my_connected -> Connection parameters: interval %.2f ms, latency %d intervals, timeout %d ms",
            connection_interval, info.le.latency, supervision_timeout);

    /* Update the PHY mode */
    // update_phy(my_current_conn);
    /* Update the data length and MTU */
    // update_data_length(my_current_conn);
    // update_mtu(my_current_conn);
}
static void my_disconnected(struct bt_conn *conn, uint8_t reason)
{
    char addr[BT_ADDR_LE_STR_LEN];
    bt_addr_le_to_str(bt_conn_get_dst(conn), addr, sizeof(addr));
    LOG_INF("Disconnected: %s, reason 0x%02x %s", addr, reason, bt_hci_err_to_str(reason));
    set_ble_connected_status(false);
    if (auth_conn)
    {
        bt_conn_unref(auth_conn);
        auth_conn = NULL;
    }
    if (my_current_conn)
    {
        bt_conn_unref(my_current_conn);
        my_current_conn = NULL;
    }
}
void on_le_param_updated(struct bt_conn *conn, uint16_t interval, uint16_t latency, uint16_t timeout)
{
    double   connection_interval = interval * 1.25;  // in ms
    uint16_t supervision_timeout = timeout * 10;     // in ms
    LOG_INF(
        "on_le_param_updated -> Connection parameters updated: interval %.2f ms, latency %d intervals, timeout %d ms",
        connection_interval, latency, supervision_timeout);
}
void on_le_phy_updated(struct bt_conn *conn, struct bt_conn_le_phy_info *param)
{
    if (param->tx_phy == BT_CONN_LE_TX_POWER_PHY_1M)
    {
        LOG_INF("PHY updated. New PHY: 1M");
    }
    else if (param->tx_phy == BT_CONN_LE_TX_POWER_PHY_2M)
    {
        LOG_INF("PHY updated. New PHY: 2M");
    }
    else if (param->tx_phy == BT_CONN_LE_TX_POWER_PHY_CODED_S8)
    {
        LOG_INF("PHY updated. New PHY: Long Range");
    }
}
void on_le_data_len_updated(struct bt_conn *conn, struct bt_conn_le_data_len_info *info)
{
    uint16_t tx_len  = info->tx_max_len;
    uint16_t tx_time = info->tx_max_time;
    uint16_t rx_len  = info->rx_max_len;
    uint16_t rx_time = info->rx_max_time;
    LOG_INF("Data length updated. Length %d/%d bytes, time %d/%d us", tx_len, rx_len, tx_time, rx_time);
}

BT_CONN_CB_DEFINE(conn_callbacks) = {
    .connected           = my_connected,
    .disconnected        = my_disconnected,
    .recycled            = recycled_cb,
    .le_param_updated    = on_le_param_updated,
    .le_phy_updated      = on_le_phy_updated,
    .le_data_len_updated = on_le_data_len_updated,
#ifdef CONFIG_BT_NUS_SECURITY_ENABLED
    .security_changed = security_changed,
#endif
};
/**
 * @brief 获取当前 BLE 负载 MTU, get the current BLE payload MTU
 * @return uint16_t 当前 BLE 负载 MTU, returns the current BLE payload MTU
 */
uint16_t get_ble_payload_mtu(void)
{
    return payload_mtu;
}
void mtu_updated(struct bt_conn *conn, uint16_t tx, uint16_t rx)
{
    payload_mtu = bt_gatt_get_mtu(conn) - 3;  // 3 bytes used for Attribute headers.
    LOG_INF("Updated MTU: TX: %d RX: %d bytes", tx, rx);
    LOG_INF("Updated MTU: %d; Payload=[%d] ", payload_mtu + 3, payload_mtu);
}
static struct bt_gatt_cb gatt_callbacks = {.att_mtu_updated = mtu_updated};
/**
 * @brief 蓝牙广播间隔设置 ble set advertising interval
 * @param time_ms
 */
void ble_interval_set(uint16_t min, uint16_t max)
{
    g_adv_param.options      = BT_LE_ADV_OPT_CONN | BT_LE_ADV_OPT_USE_IDENTITY;
    g_adv_param.interval_min = BT_GAP_PER_ADV_MS_TO_INTERVAL(min);
    g_adv_param.interval_max = BT_GAP_PER_ADV_MS_TO_INTERVAL(max);
}

static struct custom_nus_cb my_nus_cb = {
    .received = bt_receive_cb,
    // .sent = bt_sent_cb,
    // .send_enabled = bt_notify_cb,
};

static void app_info(void)
{
    LOG_INF(
        "\n\n-------------------------------------------\n|\n"
        "|	[%s] \n|\n"
        "|	Firm Version: %s\n"
        "|	Build Time: %s %s\n"
        "|	IDF Version: %s\n|\n"
        "-------------------------------------------\n",
        MOS_PROJECT_NAME, MOS_FIRMWARE_VERSION, MOS_COMPILE_DATE, MOS_COMPILE_TIME, MOS_SDK_VERSION);
}

static int hfclock_config_and_start(void)
{
    int ret;
    /* Use this to turn on 128 MHz clock for cpu_app */
    ret = nrfx_clock_divider_set(NRF_CLOCK_DOMAIN_HFCLK, NRF_CLOCK_HFCLK_DIV_1);
    ret -= NRFX_ERROR_BASE_NUM;
    if (ret)
    {
        return ret;
    }
    nrfx_clock_hfclk_start();
    while (!nrfx_clock_hfclk_is_running())
    {
    }
    return 0;
}
// 初始化高频时钟128Mhz运行模式; Initialize high-frequency clock 128Mhz operation mode
SYS_INIT(hfclock_config_and_start, POST_KERNEL, 0);

int main(void)
{
    int err = 0;
    app_info();
    g_adv_param = *(BT_LE_ADV_CONN_FAST_2);
    ble_interval_set(100, 100);
    if (IS_ENABLED(CONFIG_BT_NUS_SECURITY_ENABLED))
    {
        err = bt_conn_auth_cb_register(&conn_auth_callbacks);
        if (err)
        {
            LOG_ERR("Failed to register authorization callbacks. (err: %d)", err);
            return 0;
        }

        err = bt_conn_auth_info_cb_register(&conn_auth_info_callbacks);
        if (err)
        {
            LOG_ERR("Failed to register authorization info callbacks. (err: %d)", err);
            return 0;
        }
    }

    err = bt_enable(NULL);
    if (err)
    {
        LOG_ERR("Bluetooth not enabled (err: %d)", err);
    }
    LOG_INF("Bluetooth initialized 001");
    ble_init_sem_give();
    if (IS_ENABLED(CONFIG_SETTINGS))
    {
        settings_load();
    }
    err = custom_nus_init(&my_nus_cb);
    if (err)
    {
        LOG_ERR("Failed to bt_nus_init service (err: %d)", err);
        return 0;
    }
    k_work_init(&adv_work, adv_work_handler);
    advertising_start();

    bt_gatt_cb_register(&gatt_callbacks);
    mos_delay_ms(1000);
    bsp_board_mcu_init();

    lvgl_dispaly_thread();
    ble_protocol_receive_thread();
    ble_protocol_send_thread();
    protocol_ble_process_thread();

    task_process_thread();
    task_interrupt_thread();
    task_lc3_codec_thread();

    uint8_t mac[BT_ADDR_LE_STR_LEN] = {0};
    get_ble_mac_addr(mac, sizeof(mac));
    ble_name_update_data(mac);
    int        count        = 0;
    static int clk_128_flag = 0;

    for (;;)
    {
        LOG_INF("Starting main thread %d", count++);
        primary_feed_worker();
        mos_delay_ms(10000);
        if (clk_128_flag == 0)
        {
            uint32_t clk = NRF_CLOCK->HFCLKCTRL;
            if ((clk & 0x1) == 0)
            {
                clk_128_flag = 1;
                LOG_INF("HFCLKCTRL: 128 MHz");
            }
            else
            {
                LOG_INF("HFCLKCTRL: 64 MHz");
            }
        }
    }
}
```

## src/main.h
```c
/*** 
 * @Author       : Cole
 * @Date         : 2025-07-31 10:40:40
 * @LastEditTime : 2025-07-31 17:16:06
 * @FilePath     : main.h
 * @Description  : 
 * @
 * @ Copyright (c) MentraOS Contributors 2025 
 * @ SPDX-License-Identifier: Apache-2.0
 */


#ifndef __MAIN_H_
#define __MAIN_H_

#include <stdint.h>

int ble_init_sem_take(void);

void advertising_start(void);

bool get_ble_connected_status(void);

uint16_t get_ble_payload_mtu(void);

void ble_interval_set(uint16_t min, uint16_t max);

void ble_name_update_data(const char *name);
#endif // __MAIN_H_
```
